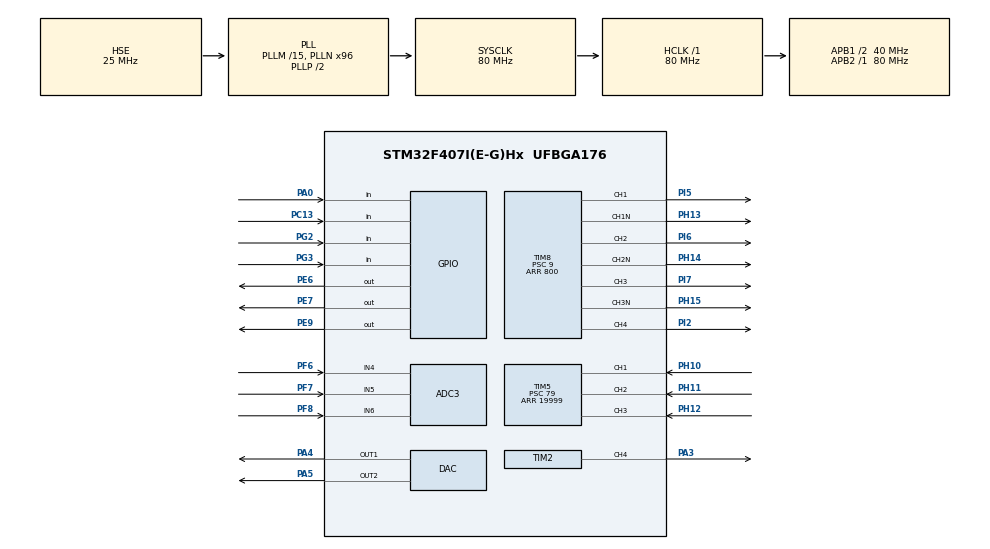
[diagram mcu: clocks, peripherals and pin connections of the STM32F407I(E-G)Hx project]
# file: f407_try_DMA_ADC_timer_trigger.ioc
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ADC3.Channel-1\#ChannelRegularConversion=ADC_CHANNEL_4
ADC3.Channel-2\#ChannelRegularConversion=ADC_CHANNEL_5
ADC3.Channel-3\#ChannelRegularConversion=ADC_CHANNEL_6
ADC3.DMAContinuousRequests=ENABLE
ADC3.ExternalTrigConv=ADC_EXTERNALTRIGCONV_T2_CC4
ADC3.NbrOfConversion=3
ADC3.NbrOfConversionFlag=1
ADC3.Rank-1\#ChannelRegularConversion=1
ADC3.Rank-2\#ChannelRegularConversion=2
ADC3.Rank-3\#ChannelRegularConversion=3
ADC3.SamplingTime-1\#ChannelRegularConversion=ADC_SAMPLETIME_3CYCLES
ADC3.SamplingTime-2\#ChannelRegularConversion=ADC_SAMPLETIME_3CYCLES
ADC3.SamplingTime-3\#ChannelRegularConversion=ADC_SAMPLETIME_3CYCLES
Dma.ADC3.0.Direction=DMA_PERIPH_TO_MEMORY
Dma.ADC3.0.FIFOMode=DMA_FIFOMODE_DISABLE
Dma.ADC3.0.Instance=DMA2_Stream0
Dma.ADC3.0.MemDataAlignment=DMA_MDATAALIGN_WORD
Dma.ADC3.0.MemInc=DMA_MINC_ENABLE
Dma.ADC3.0.Mode=DMA_CIRCULAR
Dma.ADC3.0.PeriphDataAlignment=DMA_PDATAALIGN_WORD
Dma.ADC3.0.PeriphInc=DMA_PINC_DISABLE
Dma.ADC3.0.Priority=DMA_PRIORITY_LOW
Dma.Request0=ADC3
Mcu.Family=STM32F4
Mcu.Name=STM32F407I(E-G)Hx
Mcu.Package=UFBGA176
NVIC.ADC_IRQn=true\:1\:0\:true\:false\:true\:true\:true\:true
NVIC.DMA2_Stream0_IRQn=true\:0\:0\:false\:false\:true\:false\:true\:true
NVIC.PriorityGroup=NVIC_PRIORITYGROUP_4
NVIC.TIM5_IRQn=true\:2\:0\:true\:false\:true\:true\:true\:true
NVIC.TIM8_UP_TIM13_IRQn=true\:0\:0\:false\:false\:true\:true\:true\:true
PA0-WKUP.GPIO_PuPd=GPIO_PULLDOWN
PA0-WKUP.Signal=GPIO_Input
PA13.Mode=Serial_Wire
PA13.Signal=SYS_JTMS-SWDIO
PA14.Mode=Serial_Wire
PA14.Signal=SYS_JTCK-SWCLK
PA3.Signal=S_TIM2_CH4
PA4.Signal=COMP_DAC1_group
PA5.Signal=COMP_DAC2_group
PC13-ANTI_TAMP.GPIO_PuPd=GPIO_PULLDOWN
PC13-ANTI_TAMP.Signal=GPIO_Input
PE6.Signal=GPIO_Output
PE7.Signal=GPIO_Output
PE9.Signal=GPIO_Output
PF6.Mode=IN4
PF6.Signal=ADC3_IN4
PF7.Mode=IN5
PF7.Signal=ADC3_IN5
PF8.Mode=IN6
PF8.Signal=ADC3_IN6
PG2.GPIO_PuPd=GPIO_PULLDOWN
PG2.Signal=GPIO_Input
PG3.GPIO_PuPd=GPIO_PULLDOWN
PG3.Signal=GPIO_Input
PH0-OSC_IN.Mode=HSE-External-Oscillator
PH0-OSC_IN.Signal=RCC_OSC_IN
PH1-OSC_OUT.Mode=HSE-External-Oscillator
PH1-OSC_OUT.Signal=RCC_OSC_OUT
PH10.Signal=S_TIM5_CH1
PH11.Signal=S_TIM5_CH2
PH12.Signal=S_TIM5_CH3
PH13.Mode=PWM Generation1 CH1 CH1N
PH13.Signal=TIM8_CH1N
PH14.Mode=PWM Generation2 CH2 CH2N
PH14.Signal=TIM8_CH2N
PH15.Mode=PWM Generation3 CH3 CH3N
PH15.Signal=TIM8_CH3N
PI2.Signal=S_TIM8_CH4
PI5.Signal=S_TIM8_CH1
PI6.Signal=S_TIM8_CH2
PI7.Signal=S_TIM8_CH3
ProjectManager.HeapSize=0x200
ProjectManager.StackSize=0x400
ProjectManager.TargetToolchain=MDK-ARM V5
RCC.48MHZClocksFreq_Value=40000000
RCC.AHBFreq_Value=80000000
RCC.APB1CLKDivider=RCC_HCLK_DIV2
RCC.APB1Freq_Value=40000000
RCC.APB1TimFreq_Value=80000000
RCC.APB2Freq_Value=80000000
RCC.APB2TimFreq_Value=80000000
RCC.CortexFreq_Value=80000000
RCC.HCLKFreq_Value=80000000
RCC.HSE_VALUE=25000000
RCC.HSI_VALUE=16000000
RCC.LSE_VALUE=32768
RCC.PLLM=15
RCC.PLLN=96
RCC.PLLSourceVirtual=RCC_PLLSOURCE_HSE
RCC.SYSCLKFreq_VALUE=80000000
RCC.SYSCLKSource=RCC_SYSCLKSOURCE_PLLCLK
RCC.VCOOutputFreq_Value=160000000
SH.COMP_DAC1_group.0=DAC_OUT1,DAC_OUT1
SH.COMP_DAC2_group.0=DAC_OUT2,DAC_OUT2
SH.S_TIM2_CH4.0=TIM2_CH4,PWM Generation4 CH4
SH.S_TIM5_CH1.0=TIM5_CH1,Input_Capture1_from_TI1
SH.S_TIM5_CH2.0=TIM5_CH2,Input_Capture2_from_TI2
SH.S_TIM5_CH3.0=TIM5_CH3,Input_Capture3_from_TI3
SH.S_TIM8_CH1.0=TIM8_CH1,PWM Generation1 CH1 CH1N
SH.S_TIM8_CH2.0=TIM8_CH2,PWM Generation2 CH2 CH2N
SH.S_TIM8_CH3.0=TIM8_CH3,PWM Generation3 CH3 CH3N
SH.S_TIM8_CH4.0=TIM8_CH4,Output Compare4 CH4
TIM2.Channel-PWM\ Generation4\ CH4=TIM_CHANNEL_4
TIM2.CounterMode=TIM_COUNTERMODE_CENTERALIGNED1
TIM2.OCMode_PWM-PWM\ Generation4\ CH4=TIM_OCMODE_PWM2
TIM2.Period=800
TIM2.Prescaler=9
TIM5.Channel-Input_Capture1_from_TI1=TIM_CHANNEL_1
TIM5.Channel-Input_Capture2_from_TI2=TIM_CHANNEL_2
TIM5.Channel-Input_Capture3_from_TI3=TIM_CHANNEL_3
TIM5.ICPolarity_CH1=TIM_INPUTCHANNELPOLARITY_RISING
TIM5.ICPolarity_CH2=TIM_INPUTCHANNELPOLARITY_RISING
TIM5.ICPolarity_CH3=TIM_INPUTCHANNELPOLARITY_RISING
TIM5.Period=19999
TIM5.Prescaler=79
TIM8.AutomaticOutput=TIM_AUTOMATICOUTPUT_DISABLE
TIM8.BreakPolarity=TIM_BREAKPOLARITY_HIGH
TIM8.Channel-Output\ Compare4\ CH4=TIM_CHANNEL_4
TIM8.Channel-PWM\ Generation1\ CH1\ CH1N=TIM_CHANNEL_1
TIM8.Channel-PWM\ Generation2\ CH2\ CH2N=TIM_CHANNEL_2
TIM8.Channel-PWM\ Generation3\ CH3\ CH3N=TIM_CHANNEL_3
TIM8.CounterMode=TIM_COUNTERMODE_CENTERALIGNED1
TIM8.DeadTime=100
TIM8.OCIdleState_1=TIM_OCIDLESTATE_RESET
TIM8.OCIdleState_2=TIM_OCIDLESTATE_RESET
TIM8.OCIdleState_3=TIM_OCIDLESTATE_RESET
TIM8.OCMode_4=TIM_OCMODE_ACTIVE
TIM8.OCMode_PWM-PWM\ Generation1\ CH1\ CH1N=TIM_OCMODE_PWM1
TIM8.OCMode_PWM-PWM\ Generation2\ CH2\ CH2N=TIM_OCMODE_PWM1
TIM8.OCMode_PWM-PWM\ Generation3\ CH3\ CH3N=TIM_OCMODE_PWM1
TIM8.OCNIdleState_1=TIM_OCNIDLESTATE_RESET
TIM8.OCNIdleState_2=TIM_OCNIDLESTATE_RESET
TIM8.OCNIdleState_3=TIM_OCNIDLESTATE_RESET
TIM8.OCNPolarity_1=TIM_OCNPOLARITY_HIGH
TIM8.OCNPolarity_2=TIM_OCNPOLARITY_HIGH
TIM8.OCNPolarity_3=TIM_OCNPOLARITY_HIGH
TIM8.OCPolarity_1=TIM_OCPOLARITY_HIGH
TIM8.OCPolarity_2=TIM_OCPOLARITY_HIGH
TIM8.OCPolarity_3=TIM_OCPOLARITY_HIGH
TIM8.OffStateIDLEMode=TIM_OSSI_DISABLE
TIM8.OffStateRunMode=TIM_OSSR_DISABLE
TIM8.Period=800
TIM8.Prescaler=9
TIM8.TIM_MasterOutputTrigger=TIM_TRGO_OC4REF
TIM8.TIM_MasterSlaveMode=TIM_MASTERSLAVEMODE_ENABLE
VP_TIM2_VS_ClockSourceITR.Mode=TriggerSource_ITR1
VP_TIM2_VS_ControllerModeTrigger.Mode=Trigger Mode
VP_TIM8_VS_ClockSourceINT.Mode=Internal
board=custom

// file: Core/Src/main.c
/* USER CODE BEGIN Header */
/**
  ******************************************************************************
  * @file           : main.c
  * @brief          : Main program body
  ******************************************************************************
  * @attention
  *
  * Copyright (c) 2023 STMicroelectronics.
  * All rights reserved.
  *
  * This software is licensed under terms that can be found in the LICENSE file
  * in the root directory of this software component.
  * If no LICENSE file comes with this software, it is provided AS-IS.
  *
  ******************************************************************************
  */
/* USER CODE END Header */
#include "main.h"

/* USER CODE BEGIN Includes */
#include "pmsm_control.h"
#include "stm32f4xx_it.h"
/* USER CODE END Includes */

/* USER CODE BEGIN PTD */
uint32_t adcVal[3] ;
float	U_alpha = 0, U_beta = 0, U_d = 0, U_q  = 0, ab_theta ,  elecTheta = gocBanDau , tempElecTheta = 0 ;
float Ia  = 0 , Ib  = 0, Ic  = 0;
float I_alpha  = 0, I_beta = 0 ;
float I_d = 0, I_q  = 0, I_q_lpss = 0 , I_d_lpss = 0 , I_q_ref = 0 ;
#define	T_halfsample  0.00005
uint8_t direct = 0 ;
float	U_max = 24;
uint16_t	*switchtime[3];
float mech_w = 0 , mech_rpm = 0 ;
float elec_w = 0 , prev_elec_w = 0 , ave_elec_w = 0 ;  //314 <=> 50hz <=> 750rpm
float temp_w ;
float sum_elec_w = 0 ;
uint8_t w_count = 1 ;
uint8_t calib_flag = 0 ;
uint16_t calib_count = 0 ;
uint16_t ADC_OFFSET_1 = 1567 ;
uint16_t ADC_OFFSET_2 = 1564 ;
uint16_t ADC_OFFSET_3 = 1564 ;
// not important variable
uint8_t mode_dac = 0 ;
uint8_t motor_mode =  0 ;
uint32_t mode_count = 0 ;
extern float spd_err ;
/* USER CODE END PTD */

ADC_HandleTypeDef hadc3;
DMA_HandleTypeDef hdma_adc3;

DAC_HandleTypeDef hdac;

TIM_HandleTypeDef htim2;
TIM_HandleTypeDef htim5;
TIM_HandleTypeDef htim8;

void SystemClock_Config(void);
static void MX_GPIO_Init(void);
static void MX_DMA_Init(void);
static void MX_TIM8_Init(void);
static void MX_ADC3_Init(void);
static void MX_DAC_Init(void);
static void MX_TIM2_Init(void);
static void MX_TIM5_Init(void);

/* USER CODE BEGIN 0 */
float lowpass(uint16_t signal , float f2pi , uint16_t *temp ){
		float out_LP;
    out_LP = (*temp+f2pi*signal)/(f2pi+1);
    *temp = out_LP;
    return out_LP;
}

float f_lowpass(float signal , float f2pi , float *temp ){
		float out_LP;
    out_LP = (*temp+f2pi*signal)/(f2pi+1);
    *temp = out_LP;
    return out_LP;
}
void ADC_CALIB_OFFSET() {
				ADC_OFFSET_1 = lowpass( adcVal[PHA1], 0.0314159 , &ADC_OFFSET_1 );
			  ADC_OFFSET_2 = lowpass( adcVal[PHA2], 0.0314159 , &ADC_OFFSET_2 );
			  ADC_OFFSET_3 = lowpass( adcVal[PHA3], 0.0314159 , &ADC_OFFSET_3 );
}
void HAL_ADC_ConvCpltCallback(ADC_HandleTypeDef* hadc){
//	HAL_GPIO_WritePin(GPIOE, GPIO_PIN_7, 1 );
/* Program START ========================================================================================================================================================================= */
	/* Start angle frequency w and angle theta */
if (motor_mode == AUTO) {
				elec_w = 314 ;
				elecTheta += elec_w*0.0002 ;
				if (elecTheta >= pi2 ) {elecTheta -= pi2 ; }
//				mode_count ++ ;
//				if (mode_count >= 10000 ) { motor_mode = CONTROL ;}
			}
if (motor_mode == CONTROL ) {
						/* mechanical speed to electrical speed */
					mech_w = 6283/period ;   // mechanical speed or rotor speed
				  if (direct == BACK )	{elec_w = 4*mech_w ; }      // electrical speed
					else if (direct == FORWARD  ) { elec_w = (-4)*mech_w ;}
					 /*electrical speed to electrical angle  */
					if (prev_elec_w == 0 ) { prev_elec_w = elec_w ;}
					elecTheta -= (prev_elec_w + elec_w)*0.0001 ;   // 0.0001 = Ts/2 = 0.0002/2 = (1/5000)/2
				  if (elecTheta >= pi2 ) {elecTheta -= pi2 ; }   //upper limit of Theta is 2pi
				  if (elecTheta <0 ) {elecTheta += pi2   ; }          // lower limit of Theta is 0
					prev_elec_w = elec_w ;
						/* average speed calcutaion */
					if (w_count >= SUM_ELEC_W_NUM ) 													// if full
						{	ave_elec_w = sum_elec_w / SUM_ELEC_W_NUM;
							w_count = 1 ;
						  sum_elec_w = ave_elec_w  ;}
					else if (w_count < SUM_ELEC_W_NUM ) 											//if not full yet
					  {	w_count ++ ;
							sum_elec_w += elec_w ;
						}
					}
					mech_rpm = ave_elec_w *2.387324146 ;
/* End angle frequency w and angle theta */
		/* Current Measure START*/
					/* Current cabib START*/
						if (calib_flag == 1 ) {
								ADC_CALIB_OFFSET () ;
								calib_count ++ ;
								if (calib_count >= 1000 ) {
											calib_flag = 0 ;
											calib_count = 0 ;
											}
						}
					/* Current calib END */
				Ia = current_calc (adcVal[PHA1], ADC_OFFSET_1);  // current calculation
				Ib = current_calc (adcVal[PHA2], ADC_OFFSET_2);
				Ic = current_calc (adcVal[PHA3], ADC_OFFSET_3);
				abc_to_alp_bet (Ia , Ib, Ic , &I_alpha , &I_beta );    //clark transformation	a b c  >>> alpha beta

        float temp_sin = sinlkrd(elecTheta ) ;
        float temp_cos = coslkrd(elecTheta ) ;

				I_d = I_alpha*temp_cos  + I_beta * temp_sin;	// Park transformation alpha beta >>> d q
				I_q = -I_alpha*temp_sin + I_beta * temp_cos;
				//I_q_lpss = f_lowpass( I_q , 0.628 , &I_q );  //50Hz
HAL_DAC_SetValue (&hdac , DAC_CHANNEL_1 ,DAC_ALIGN_12B_R, I_d*620 + 2048 );		//I_d *248 +
HAL_DAC_SetValue (&hdac , DAC_CHANNEL_2 ,DAC_ALIGN_12B_R, I_q*620 + 2048 );
  /* Current Measure END*/
	if (motor_mode == AUTO ) {
			U_d = 0 ;
			U_q = 3 ;
	}
	if (motor_mode == CONTROL ) {
	I_q_ref = PI_speed( ave_elec_w );
	//I_q_ref = 0.5;
	U_q = PI_Q(I_q , I_q_ref);
	//U_q =  3 ;
	U_d = PI_D(I_d);
				}

	U_alpha = U_d*temp_cos - U_q*temp_sin ;  // invert Park transformation
	U_beta 	= U_d*temp_sin + U_q*temp_cos ;
	ab_theta = fmod((atan2(U_beta, U_alpha ) + pi2), pi2) ; // alpha beta >>> arctan >>> Theta
	svpwm();
	TIM8 -> CCR1 = *switchtime[PHA1] ;
	TIM8 -> CCR2 = *switchtime[PHA2] ;
	TIM8 -> CCR3 = *switchtime[PHA3] ;

	/*program	END =============================================================================================================================================================================	*/
	//HAL_GPIO_WritePin(GPIOE, GPIO_PIN_7, 0);
}// END ADC INTERRUPT

void svpwm(void)	{
	 uint8_t sector = ab_theta /PIdiv3;
	//calculate theta using agular speed
	float U_ref = sqrt(U_alpha*U_alpha + U_beta*U_beta);
	if (U_ref > U_max) {
			U_ref = U_max;
	}
			float	angle =  ab_theta - (sector*PIdiv3);
			float	U_ref_percent = (SQRT3)*(U_ref/U_DC); // previous: (2/_SQRT3)
	float t_1 = U_ref_percent*sin(PIdiv3-angle)*T_halfsample;
	float t_2 = U_ref_percent*sin(angle)*T_halfsample;
	float t_0 = T_halfsample - t_1 - t_2;
	float t_0_half = t_0/2;
	// Switching counter values for Timer Interrupts
	// Upper switches
	uint16_t ontime_t_0_half = (t_0_half) * counterfrequency;
	uint16_t ontime_value_1 = (t_0_half + t_1) * counterfrequency;
	uint16_t ontime_value_2 = (t_0_half + t_2) * counterfrequency;
	uint16_t ontime_value_3 = (t_0_half + t_1 + t_2) * counterfrequency;

	switch (sector)	{
  //Upper switches
  // Sector 1
		case 0:		switchtime[PHA1] = &ontime_t_0_half;
					switchtime[PHA2] = &ontime_value_1;
					switchtime[PHA3] = &ontime_value_3;
				break;
		// Sector 2
		case 1:		switchtime[PHA1] = &ontime_value_2;
					switchtime[PHA2] = &ontime_t_0_half;
					switchtime[PHA3] = &ontime_value_3;
				break;
		// Sector 3
		case 2:		switchtime[PHA1] = &ontime_value_3;
					switchtime[PHA2] = &ontime_t_0_half;
					switchtime[PHA3] = &ontime_value_1;
				break;
		//Sector 4
		case 3:		switchtime[PHA1] = &ontime_value_3;
					switchtime[PHA2] = &ontime_value_2;
					switchtime[PHA3] = &ontime_t_0_half;
				break;
		// Sector 5
		case 4:		switchtime[PHA1] = &ontime_value_1;
					switchtime[PHA2] = &ontime_value_3;
					switchtime[PHA3] = &ontime_t_0_half;
				break;
		// Sector 6
		case 5:		switchtime[PHA1] = &ontime_t_0_half;
					switchtime[PHA2] = &ontime_value_3;
					switchtime[PHA3] = &ontime_value_2;
				break;
	}
}
/* USER CODE END 0 */

int main(void)  {

  /* MCU Configuration--------------------------------------------------------*/

  /* Reset of all peripherals, Initializes the Flash interface and the Systick. */
  HAL_Init();

  /* Configure the system clock */
  SystemClock_Config();

  /* Initialize all configured peripherals */
  MX_GPIO_Init();
  MX_DMA_Init();
  MX_TIM8_Init();
  MX_ADC3_Init();
  MX_DAC_Init();
  MX_TIM2_Init();
  MX_TIM5_Init();
  /* USER CODE BEGIN 2 */
HAL_TIM_PWM_Start(&htim8 , TIM_CHANNEL_1 );	//inverter pin
HAL_TIMEx_PWMN_Start(&htim8 , TIM_CHANNEL_1 );

HAL_TIM_PWM_Start(&htim8 , TIM_CHANNEL_2 );	//inverter pin
HAL_TIMEx_PWMN_Start(&htim8 , TIM_CHANNEL_2 );

HAL_TIM_PWM_Start(&htim8 , TIM_CHANNEL_3 );	//inverter pin
HAL_TIMEx_PWMN_Start(&htim8 , TIM_CHANNEL_3 );
//__HAL_TIM_SET_COMPARE( &htim8 , TIM_CHANNEL_1 ,400);/////===================================////////////////////////////////
__HAL_TIM_SET_COMPARE( &htim8 , TIM_CHANNEL_4 ,400);// set synchronous channel
HAL_TIM_Base_Start_IT (&htim8);

HAL_TIM_PWM_Start(&htim2 , TIM_CHANNEL_4 );
__HAL_TIM_SET_COMPARE( &htim2 , TIM_CHANNEL_4 ,400); // set adc trigger instant
HAL_TIM_Base_Start_IT (&htim2);
HAL_TIM_Base_Start(&htim5);
HAL_TIM_IC_Start_IT(&htim5, TIM_CHANNEL_1);
HAL_TIM_IC_Start_IT(&htim5, TIM_CHANNEL_2);
HAL_TIM_IC_Start_IT(&htim5, TIM_CHANNEL_3);
	// (&hadc1 , buffer , 3);

	if (HAL_ADC_Start_DMA(&hadc3, adcVal, 3) != HAL_OK)
	{
		Error_Handler();
	}

HAL_DAC_Start (&hdac , DAC1_CHANNEL_1 );// dac for debug
HAL_DAC_Start (&hdac , DAC1_CHANNEL_2 );// dac for debug

  // on off shutdown pin
motor_mode = CONTROL   ;
//motor_mode = AUTO  ;
HAL_GPIO_WritePin(GPIOE, GPIO_PIN_6, GPIO_PIN_SET);
  /* USER CODE END 2 */

  /* Infinite loop */
  while (1)
  {

    /* USER CODE BEGIN 3 */
		//-----if (HAL_GPIO_ReadPin (GPIOG, GPIO_PIN_4 ) == GPIO_PIN_SET ) { calib_flag = 1 ;}  //key 5  to calib the offset

		//------if (HAL_GPIO_ReadPin (GPIOA, GPIO_PIN_0 ) == GPIO_PIN_SET ) { motor_mode = AUTO  ; HAL_GPIO_WritePin(GPIOE, GPIO_PIN_6, GPIO_PIN_SET); NNN = 1 ; }  //key 1  on
		//-------if (HAL_GPIO_ReadPin (GPIOG, GPIO_PIN_2 ) == GPIO_PIN_SET ) {	HAL_GPIO_WritePin(GPIOE, GPIO_PIN_6, GPIO_PIN_RESET); NNN = 0 ; elec_w  = 0 ;}   //key 2 off

	//	HAL_Delay( 10 );

		//if ((elec_w  < 700)&&(motor_mode == AUTO )) {elec_w += 1 ;}
		//if ((refSpeed < 500)&&(motor_mode == CONTROL )) {refSpeed  += 5;}

//		for (int f = 0 ; f< 100 ; f++) {int g = 1;}
//		__HAL_TIM_SET_COMPARE( &htim8 , TIM_CHANNEL_1 , 300);
//		__HAL_TIM_SET_COMPARE( &htim8 , TIM_CHANNEL_2 , 300);
//		__HAL_TIM_SET_COMPARE( &htim8 , TIM_CHANNEL_3 , 300);
//	  HAL_Delay(1000);
//	  if (sin_step < 10 ) { sin_step +=1 ;}

	  //else { sin_step = 10 ;}
		/*START - xuat DAC dong dien theo nut nhan */
//		if (HAL_GPIO_ReadPin (GPIOA, GPIO_PIN_0 ) == GPIO_PIN_SET ) { HAL_GPIO_WritePin(GPIOE, GPIO_PIN_6, GPIO_PIN_SET); NNN = 1 ; }  //key 1  on
//		if (HAL_GPIO_ReadPin (GPIOG, GPIO_PIN_2 ) == GPIO_PIN_SET ) {	HAL_GPIO_WritePin(GPIOE, GPIO_PIN_6, GPIO_PIN_RESET); NNN = 0 ; w_act = 0 ;}  //key 2 off
//	 --------------------------	if (HAL_GPIO_ReadPin (GPIOC, GPIO_PIN_13 ) == GPIO_PIN_SET ) {    //key 3
//	 --------------------------			mode_dac = 1 ;
//	 --------------------------	}
//	 --------------------------	if (HAL_GPIO_ReadPin (GPIOG, GPIO_PIN_3 ) == GPIO_PIN_SET ) {    //key 4
//	 --------------------------		 mode_dac = 2;
//	 --------------------------	}
// --------------------------	if (HAL_GPIO_ReadPin (GPIOG, GPIO_PIN_4 ) == GPIO_PIN_SET ) {
// --------------------------			mode_dac = 3 ;

		/*END - xuat DAC dong dien theo nut nhan */
		/* START - nut nhan tang giam toc do */
//		if (HAL_GPIO_ReadPin (GPIOC, GPIO_PIN_13 ) == GPIO_PIN_SET ) {  //key 3
//			HAL_Delay(10) ;
//			 if (HAL_GPIO_ReadPin (GPIOC, GPIO_PIN_13 ) == GPIO_PIN_RESET )   {w_act += 20 ; }
//				if (w_act >=300) {
//						w_act = 300 ;
//				}
//			}

//			if (HAL_GPIO_ReadPin (GPIOG, GPIO_PIN_3 ) == GPIO_PIN_SET ) {  //key 4 ???
//			HAL_Delay(10) ;
//			 if (HAL_GPIO_ReadPin (GPIOG, GPIO_PIN_3 ) == GPIO_PIN_RESET )   {w_act -= 20 ; }
//				if (w_act <= 0) {
//						w_act = 0 ;
//				}
//			}
    	/*END - nut nhan tang giam toc do */

  }
  /* USER CODE END 3 */
}

void SystemClock_Config(void)
{
  RCC_OscInitTypeDef RCC_OscInitStruct = {0};
  RCC_ClkInitTypeDef RCC_ClkInitStruct = {0};

  /** Configure the main internal regulator output voltage
  */
  __HAL_RCC_PWR_CLK_ENABLE();
  __HAL_PWR_VOLTAGESCALING_CONFIG(PWR_REGULATOR_VOLTAGE_SCALE1);

  /** Initializes the RCC Oscillators according to the specified parameters
  * in the RCC_OscInitTypeDef structure.
  */
  RCC_OscInitStruct.OscillatorType = RCC_OSCILLATORTYPE_HSE;
  RCC_OscInitStruct.HSEState = RCC_HSE_ON;
  RCC_OscInitStruct.PLL.PLLState = RCC_PLL_ON;
  RCC_OscInitStruct.PLL.PLLSource = RCC_PLLSOURCE_HSE;
  RCC_OscInitStruct.PLL.PLLM = 15;
  RCC_OscInitStruct.PLL.PLLN = 96;
  RCC_OscInitStruct.PLL.PLLP = RCC_PLLP_DIV2;
  RCC_OscInitStruct.PLL.PLLQ = 4;
  if (HAL_RCC_OscConfig(&RCC_OscInitStruct) != HAL_OK)
  {
    Error_Handler();
  }

  /** Initializes the CPU, AHB and APB buses clocks
  */
  RCC_ClkInitStruct.ClockType = RCC_CLOCKTYPE_HCLK|RCC_CLOCKTYPE_SYSCLK
                              |RCC_CLOCKTYPE_PCLK1|RCC_CLOCKTYPE_PCLK2;
  RCC_ClkInitStruct.SYSCLKSource = RCC_SYSCLKSOURCE_PLLCLK;
  RCC_ClkInitStruct.AHBCLKDivider = RCC_SYSCLK_DIV1;
  RCC_ClkInitStruct.APB1CLKDivider = RCC_HCLK_DIV2;
  RCC_ClkInitStruct.APB2CLKDivider = RCC_HCLK_DIV1;

  if (HAL_RCC_ClockConfig(&RCC_ClkInitStruct, FLASH_LATENCY_2) != HAL_OK)
  {
    Error_Handler();
  }
}

static void MX_ADC3_Init(void)
{

  ADC_ChannelConfTypeDef sConfig = {0};

  /** Configure the global features of the ADC (Clock, Resolution, Data Alignment and number of conversion)
  */
  hadc3.Instance = ADC3;
  hadc3.Init.ClockPrescaler = ADC_CLOCK_SYNC_PCLK_DIV4;
  hadc3.Init.Resolution = ADC_RESOLUTION_12B;
  hadc3.Init.ScanConvMode = ENABLE;
  hadc3.Init.ContinuousConvMode = DISABLE;
  hadc3.Init.DiscontinuousConvMode = DISABLE;
  hadc3.Init.ExternalTrigConvEdge = ADC_EXTERNALTRIGCONVEDGE_RISING;
  hadc3.Init.ExternalTrigConv = ADC_EXTERNALTRIGCONV_T2_CC4;
  hadc3.Init.DataAlign = ADC_DATAALIGN_RIGHT;
  hadc3.Init.NbrOfConversion = 3;
  hadc3.Init.DMAContinuousRequests = ENABLE;
  hadc3.Init.EOCSelection = ADC_EOC_SINGLE_CONV;
  if (HAL_ADC_Init(&hadc3) != HAL_OK)
  {
    Error_Handler();
  }

  /** Configure for the selected ADC regular channel its corresponding rank in the sequencer and its sample time.
  */
  sConfig.Channel = ADC_CHANNEL_4;
  sConfig.Rank = 1;
  sConfig.SamplingTime = ADC_SAMPLETIME_3CYCLES;
  if (HAL_ADC_ConfigChannel(&hadc3, &sConfig) != HAL_OK)
  {
    Error_Handler();
  }

  /** Configure for the selected ADC regular channel its corresponding rank in the sequencer and its sample time.
  */
  sConfig.Channel = ADC_CHANNEL_5;
  sConfig.Rank = 2;
  if (HAL_ADC_ConfigChannel(&hadc3, &sConfig) != HAL_OK)
  {
    Error_Handler();
  }

  /** Configure for the selected ADC regular channel its corresponding rank in the sequencer and its sample time.
  */
  sConfig.Channel = ADC_CHANNEL_6;
  sConfig.Rank = 3;
  if (HAL_ADC_ConfigChannel(&hadc3, &sConfig) != HAL_OK)
  {
    Error_Handler();
  }

}

static void MX_DAC_Init(void)
{

  DAC_ChannelConfTypeDef sConfig = {0};

  /** DAC Initialization
  */
  hdac.Instance = DAC;
  if (HAL_DAC_Init(&hdac) != HAL_OK)
  {
    Error_Handler();
  }

  /** DAC channel OUT1 config
  */
  sConfig.DAC_Trigger = DAC_TRIGGER_NONE;
  sConfig.DAC_OutputBuffer = DAC_OUTPUTBUFFER_ENABLE;
  if (HAL_DAC_ConfigChannel(&hdac, &sConfig, DAC_CHANNEL_1) != HAL_OK)
  {
    Error_Handler();
  }

  /** DAC channel OUT2 config
  */
  if (HAL_DAC_ConfigChannel(&hdac, &sConfig, DAC_CHANNEL_2) != HAL_OK)
  {
    Error_Handler();
  }

}

static void MX_TIM2_Init(void)
{

  TIM_SlaveConfigTypeDef sSlaveConfig = {0};
  TIM_MasterConfigTypeDef sMasterConfig = {0};
  TIM_OC_InitTypeDef sConfigOC = {0};

  htim2.Instance = TIM2;
  htim2.Init.Prescaler = 9;
  htim2.Init.CounterMode = TIM_COUNTERMODE_CENTERALIGNED1;
  htim2.Init.Period = 800;
  htim2.Init.ClockDivision = TIM_CLOCKDIVISION_DIV1;
  htim2.Init.AutoReloadPreload = TIM_AUTORELOAD_PRELOAD_DISABLE;
  if (HAL_TIM_Base_Init(&htim2) != HAL_OK)
  {
    Error_Handler();
  }
  if (HAL_TIM_PWM_Init(&htim2) != HAL_OK)
  {
    Error_Handler();
  }
  sSlaveConfig.SlaveMode = TIM_SLAVEMODE_TRIGGER;
  sSlaveConfig.InputTrigger = TIM_TS_ITR1;
  if (HAL_TIM_SlaveConfigSynchro(&htim2, &sSlaveConfig) != HAL_OK)
  {
    Error_Handler();
  }
  sMasterConfig.MasterOutputTrigger = TIM_TRGO_RESET;
  sMasterConfig.MasterSlaveMode = TIM_MASTERSLAVEMODE_DISABLE;
  if (HAL_TIMEx_MasterConfigSynchronization(&htim2, &sMasterConfig) != HAL_OK)
  {
    Error_Handler();
  }
  sConfigOC.OCMode = TIM_OCMODE_PWM2;
  sConfigOC.Pulse = 0;
  sConfigOC.OCPolarity = TIM_OCPOLARITY_HIGH;
  sConfigOC.OCFastMode = TIM_OCFAST_DISABLE;
  if (HAL_TIM_PWM_ConfigChannel(&htim2, &sConfigOC, TIM_CHANNEL_4) != HAL_OK)
  {
    Error_Handler();
  }
  HAL_TIM_MspPostInit(&htim2);

}

static void MX_TIM5_Init(void)
{

  TIM_MasterConfigTypeDef sMasterConfig = {0};
  TIM_IC_InitTypeDef sConfigIC = {0};

  htim5.Instance = TIM5;
  htim5.Init.Prescaler = 79;
  htim5.Init.CounterMode = TIM_COUNTERMODE_UP;
  htim5.Init.Period = 19999;
  htim5.Init.ClockDivision = TIM_CLOCKDIVISION_DIV1;
  htim5.Init.AutoReloadPreload = TIM_AUTORELOAD_PRELOAD_DISABLE;
  if (HAL_TIM_IC_Init(&htim5) != HAL_OK)
  {
    Error_Handler();
  }
  sMasterConfig.MasterOutputTrigger = TIM_TRGO_RESET;
  sMasterConfig.MasterSlaveMode = TIM_MASTERSLAVEMODE_DISABLE;
  if (HAL_TIMEx_MasterConfigSynchronization(&htim5, &sMasterConfig) != HAL_OK)
  {
    Error_Handler();
  }
  sConfigIC.ICPolarity = TIM_INPUTCHANNELPOLARITY_RISING;
  sConfigIC.ICSelection = TIM_ICSELECTION_DIRECTTI;
  sConfigIC.ICPrescaler = TIM_ICPSC_DIV1;
  sConfigIC.ICFilter = 0;
  if (HAL_TIM_IC_ConfigChannel(&htim5, &sConfigIC, TIM_CHANNEL_1) != HAL_OK)
  {
    Error_Handler();
  }
  if (HAL_TIM_IC_ConfigChannel(&htim5, &sConfigIC, TIM_CHANNEL_2) != HAL_OK)
  {
    Error_Handler();
  }
  if (HAL_TIM_IC_ConfigChannel(&htim5, &sConfigIC, TIM_CHANNEL_3) != HAL_OK)
  {
    Error_Handler();
  }

}

static void MX_TIM8_Init(void)
{

  TIM_ClockConfigTypeDef sClockSourceConfig = {0};
  TIM_MasterConfigTypeDef sMasterConfig = {0};
  TIM_OC_InitTypeDef sConfigOC = {0};
  TIM_BreakDeadTimeConfigTypeDef sBreakDeadTimeConfig = {0};

  htim8.Instance = TIM8;
  htim8.Init.Prescaler = 9;
  htim8.Init.CounterMode = TIM_COUNTERMODE_CENTERALIGNED1;
  htim8.Init.Period = 800;
  htim8.Init.ClockDivision = TIM_CLOCKDIVISION_DIV1;
  htim8.Init.RepetitionCounter = 0;
  htim8.Init.AutoReloadPreload = TIM_AUTORELOAD_PRELOAD_DISABLE;
  if (HAL_TIM_Base_Init(&htim8) != HAL_OK)
  {
    Error_Handler();
  }
  sClockSourceConfig.ClockSource = TIM_CLOCKSOURCE_INTERNAL;
  if (HAL_TIM_ConfigClockSource(&htim8, &sClockSourceConfig) != HAL_OK)
  {
    Error_Handler();
  }
  if (HAL_TIM_PWM_Init(&htim8) != HAL_OK)
  {
    Error_Handler();
  }
  if (HAL_TIM_OC_Init(&htim8) != HAL_OK)
  {
    Error_Handler();
  }
  sMasterConfig.MasterOutputTrigger = TIM_TRGO_OC4REF;
  sMasterConfig.MasterSlaveMode = TIM_MASTERSLAVEMODE_ENABLE;
  if (HAL_TIMEx_MasterConfigSynchronization(&htim8, &sMasterConfig) != HAL_OK)
  {
    Error_Handler();
  }
  sConfigOC.OCMode = TIM_OCMODE_PWM1;
  sConfigOC.Pulse = 0;
  sConfigOC.OCPolarity = TIM_OCPOLARITY_HIGH;
  sConfigOC.OCNPolarity = TIM_OCNPOLARITY_HIGH;
  sConfigOC.OCFastMode = TIM_OCFAST_DISABLE;
  sConfigOC.OCIdleState = TIM_OCIDLESTATE_RESET;
  sConfigOC.OCNIdleState = TIM_OCNIDLESTATE_RESET;
  if (HAL_TIM_PWM_ConfigChannel(&htim8, &sConfigOC, TIM_CHANNEL_1) != HAL_OK)
  {
    Error_Handler();
  }
  if (HAL_TIM_PWM_ConfigChannel(&htim8, &sConfigOC, TIM_CHANNEL_2) != HAL_OK)
  {
    Error_Handler();
  }
  if (HAL_TIM_PWM_ConfigChannel(&htim8, &sConfigOC, TIM_CHANNEL_3) != HAL_OK)
  {
    Error_Handler();
  }
  sConfigOC.OCMode = TIM_OCMODE_ACTIVE;
  if (HAL_TIM_OC_ConfigChannel(&htim8, &sConfigOC, TIM_CHANNEL_4) != HAL_OK)
  {
    Error_Handler();
  }
  sBreakDeadTimeConfig.OffStateRunMode = TIM_OSSR_DISABLE;
  sBreakDeadTimeConfig.OffStateIDLEMode = TIM_OSSI_DISABLE;
  sBreakDeadTimeConfig.LockLevel = TIM_LOCKLEVEL_OFF;
  sBreakDeadTimeConfig.DeadTime = 100;
  sBreakDeadTimeConfig.BreakState = TIM_BREAK_DISABLE;
  sBreakDeadTimeConfig.BreakPolarity = TIM_BREAKPOLARITY_HIGH;
  sBreakDeadTimeConfig.AutomaticOutput = TIM_AUTOMATICOUTPUT_DISABLE;
  if (HAL_TIMEx_ConfigBreakDeadTime(&htim8, &sBreakDeadTimeConfig) != HAL_OK)
  {
    Error_Handler();
  }
  HAL_TIM_MspPostInit(&htim8);

}

static void MX_DMA_Init(void)
{

  /* DMA controller clock enable */
  __HAL_RCC_DMA2_CLK_ENABLE();

  /* DMA interrupt init */
  /* DMA2_Stream0_IRQn interrupt configuration */
  HAL_NVIC_SetPriority(DMA2_Stream0_IRQn, 0, 0);
  HAL_NVIC_EnableIRQ(DMA2_Stream0_IRQn);

}

static void MX_GPIO_Init(void)
{
  GPIO_InitTypeDef GPIO_InitStruct = {0};

  /* GPIO Ports Clock Enable */
  __HAL_RCC_GPIOA_CLK_ENABLE();
  __HAL_RCC_GPIOE_CLK_ENABLE();
  __HAL_RCC_GPIOI_CLK_ENABLE();
  __HAL_RCC_GPIOC_CLK_ENABLE();
  __HAL_RCC_GPIOH_CLK_ENABLE();
  __HAL_RCC_GPIOF_CLK_ENABLE();
  __HAL_RCC_GPIOG_CLK_ENABLE();

  /*Configure GPIO pin Output Level */
  HAL_GPIO_WritePin(GPIOE, GPIO_PIN_6|GPIO_PIN_9|GPIO_PIN_7, GPIO_PIN_RESET);

  /*Configure GPIO pins : PE6 PE9 PE7 */
  GPIO_InitStruct.Pin = GPIO_PIN_6|GPIO_PIN_9|GPIO_PIN_7;
  GPIO_InitStruct.Mode = GPIO_MODE_OUTPUT_PP;
  GPIO_InitStruct.Pull = GPIO_NOPULL;
  GPIO_InitStruct.Speed = GPIO_SPEED_FREQ_LOW;
  HAL_GPIO_Init(GPIOE, &GPIO_InitStruct);

  /*Configure GPIO pin : PC13 */
  GPIO_InitStruct.Pin = GPIO_PIN_13;
  GPIO_InitStruct.Mode = GPIO_MODE_INPUT;
  GPIO_InitStruct.Pull = GPIO_PULLDOWN;
  HAL_GPIO_Init(GPIOC, &GPIO_InitStruct);

  /*Configure GPIO pins : PG3 PG2 */
  GPIO_InitStruct.Pin = GPIO_PIN_3|GPIO_PIN_2;
  GPIO_InitStruct.Mode = GPIO_MODE_INPUT;
  GPIO_InitStruct.Pull = GPIO_PULLDOWN;
  HAL_GPIO_Init(GPIOG, &GPIO_InitStruct);

  /*Configure GPIO pin : PA0 */
  GPIO_InitStruct.Pin = GPIO_PIN_0;
  GPIO_InitStruct.Mode = GPIO_MODE_INPUT;
  GPIO_InitStruct.Pull = GPIO_PULLDOWN;
  HAL_GPIO_Init(GPIOA, &GPIO_InitStruct);

}

void Error_Handler(void)
{
  __disable_irq();
  while (1)
  {
  }
}
